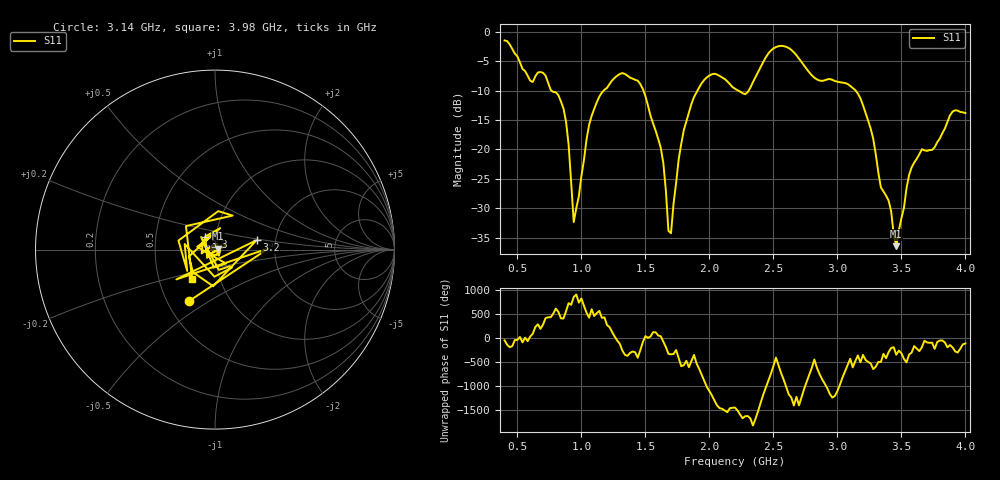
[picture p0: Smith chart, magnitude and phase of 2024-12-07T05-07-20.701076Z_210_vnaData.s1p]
!Created with skrf (http://scikit-rf.org).
# Hz S RI R 50.0
!freq ReS11 ImS11
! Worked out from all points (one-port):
!   181 points, 400 MHz to 4 GHz, reference 50 ohm
!   lowest |S11| = -36.4 dB at 3.46 GHz (marker M1), VSWR 1.03, Z = 51.5 + j0.447 ohm
!   |S11| at or under -10 dB: 766.4 MHz to 1.174 GHz (407.8 MHz wide, 42 % of centre); 1.484 GHz to 1.907 GHz (422.9 MHz wide, 24.9 % of centre); 3.142 GHz to end of sweep (the widest 3 of 4)
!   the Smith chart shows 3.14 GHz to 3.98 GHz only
!   S11 on the Smith chart (normalised r, x): 3.14 GHz: 0.65, -0.41; 3.2 GHz: 1.59, +0.18; 3.3 GHz: 0.89, +0.13; 3.98 GHz: 0.74, -0.25
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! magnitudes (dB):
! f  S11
! 400 MHz  -1.5
! 860 MHz  -13.0
! 900 MHz  -19.2
! 940 MHz  -32.3
! 1.08 GHz  -14.3
! 1.3 GHz  -7.2
! 1.5 GHz  -10.9
! 1.62 GHz  -19.7
! 1.64 GHz  -22.3
! 1.68 GHz  -33.8
! 1.7 GHz  -34.2
! 1.76 GHz  -21.7
! 1.86 GHz  -12.2
! 1.96 GHz  -8.2
! 2.2 GHz  -9.7
! 2.3 GHz  -10.3
! 2.5 GHz  -2.9
! 2.66 GHz  -3.5
! 2.84 GHz  -8.1
! 3.1 GHz  -9.2
! 3.14 GHz  -9.9
! 3.2 GHz  -12.5
! 3.3 GHz  -20.8
! 3.46 GHz  -36.4
! 3.56 GHz  -24.3
! 3.9 GHz  -13.6
! 3.98 GHz  -13.7
! 4 GHz  -13.8
